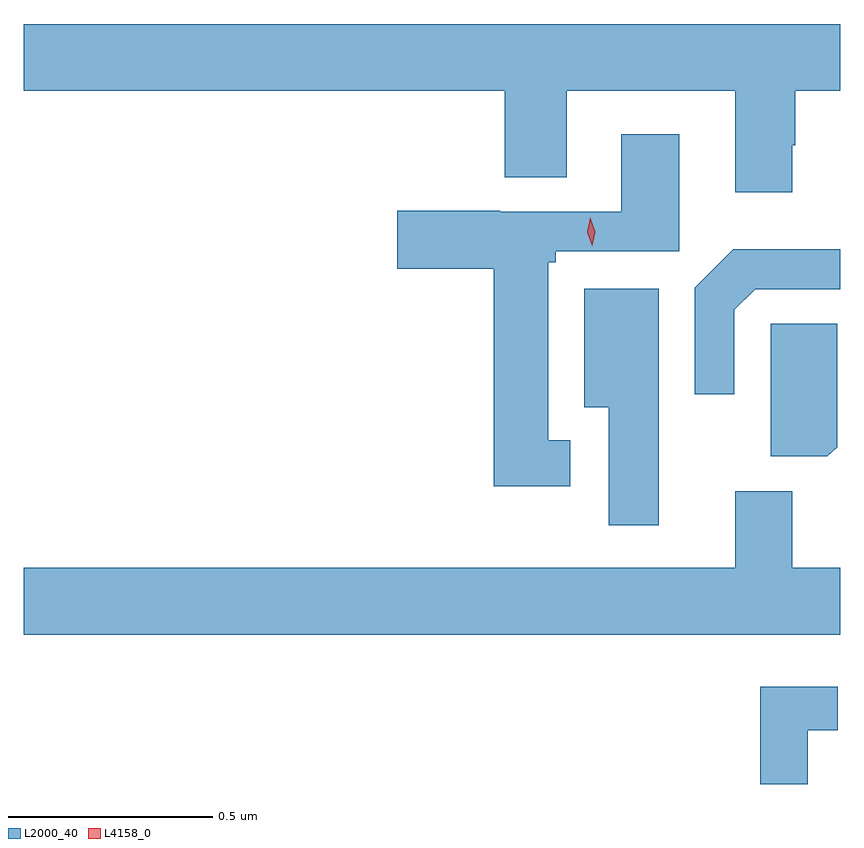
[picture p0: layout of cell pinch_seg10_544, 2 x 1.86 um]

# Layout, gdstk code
import gdstk
lib = gdstk.Library(unit=1e-6, precision=1e-09)
def P(c, l, *ps):  # polygons
    for p in ps: c.add(gdstk.Polygon(p, *l))
L2000_40 = (2000, 40)
L4158_0 = (4158, 0)

pinch_seg10_544 = lib.new_cell('pinch_seg10_544')
P(pinch_seg10_544, L2000_40, [(210.037,1273.543),(210.045,1273.543),(210.045,1273.676),(210.155,1273.676),(210.155,1273.84),(208.155,1273.84),(208.155,1273.676),(209.333,1273.676),(209.333,1273.465),(209.485,1273.465),(209.485,1273.676),(209.897,1273.676),(209.897,1273.428),(210.037,1273.428)],
  [(209.494,1272.821),(209.44,1272.821),(209.44,1273.257),(209.458,1273.257),(209.458,1273.284),(209.761,1273.284),(209.761,1273.57),(209.618,1273.57),(209.618,1273.38),(209.322,1273.38),(209.322,1273.383),(209.07,1273.383),(209.07,1273.241),(209.306,1273.241),(209.306,1272.708),(209.494,1272.708)],
  [(209.895,1273.14),(209.946,1273.191),(210.155,1273.191),(210.155,1273.288),(209.893,1273.288),(209.799,1273.194),(209.799,1272.933),(209.895,1272.933)],
  [(209.71,1273.192),(209.528,1273.192),(209.528,1272.902),(209.588,1272.902),(209.588,1272.612),(209.71,1272.612)],
  [(210.147,1272.804),(210.147,1273.106),(209.985,1273.106),(209.985,1272.995),(209.984,1272.995),(209.984,1272.781),(210.123,1272.781)],
  [(210.155,1272.508),(210.037,1272.508),(210.037,1272.696),(209.897,1272.696),(209.897,1272.508),(208.155,1272.508),(208.155,1272.344),(210.155,1272.344)],
  [(210.075,1272.111),(210.148,1272.111),(210.148,1272.217),(209.959,1272.217),(209.959,1271.979),(210.075,1271.979)])
P(pinch_seg10_544, L4158_0, [(209.547,1273.296),(209.547,1273.297),(209.535,1273.33),(209.543,1273.365),(209.543,1273.365),(209.543,1273.365),(209.555,1273.331),(209.547,1273.297)])

lib.write_gds('pinch_seg10_544.gds')
